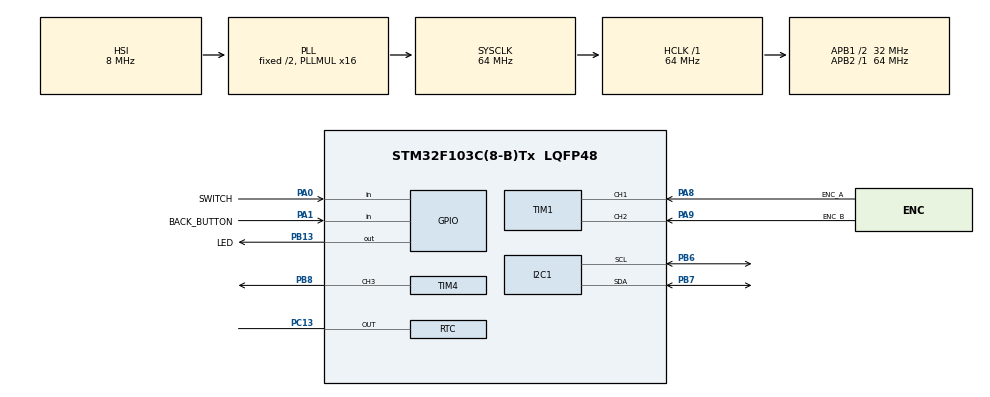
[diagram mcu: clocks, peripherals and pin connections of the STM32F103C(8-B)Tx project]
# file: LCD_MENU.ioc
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Mcu.Family=STM32F1
Mcu.Name=STM32F103C(8-B)Tx
Mcu.Package=LQFP48
NVIC.PriorityGroup=NVIC_PRIORITYGROUP_4
NVIC.TIM1_BRK_IRQn=true\:0\:0\:false\:false\:true\:true\:true\:true
NVIC.TIM1_CC_IRQn=true\:0\:0\:false\:false\:true\:true\:true\:true
NVIC.TIM1_TRG_COM_IRQn=true\:0\:0\:false\:false\:true\:true\:true\:true
NVIC.TIM1_UP_IRQn=true\:0\:0\:false\:false\:true\:true\:true\:true
PA0-WKUP.GPIO_Label=SWITCH
PA0-WKUP.Signal=GPIO_Input
PA1.GPIO_Label=BACK_BUTTON
PA1.GPIO_PuPd=GPIO_PULLDOWN
PA1.Signal=GPIO_Input
PA13.Mode=Serial_Wire
PA13.Signal=SYS_JTMS-SWDIO
PA14.Mode=Serial_Wire
PA14.Signal=SYS_JTCK-SWCLK
PA8.GPIO_Label=ENC_A
PA8.Signal=S_TIM1_CH1
PA9.GPIO_Label=ENC_B
PA9.Signal=S_TIM1_CH2
PB13.GPIO_Label=LED
PB13.GPIO_PuPd=GPIO_PULLDOWN
PB13.Signal=GPIO_Output
PB6.Mode=I2C
PB6.Signal=I2C1_SCL
PB7.Mode=I2C
PB7.Signal=I2C1_SDA
PB8.Signal=S_TIM4_CH3
PC13-TAMPER-RTC.Mode=RTC OUT
PC13-TAMPER-RTC.Signal=RTC_OUT
ProjectManager.HeapSize=0x200
ProjectManager.StackSize=0x400
ProjectManager.TargetToolchain=STM32CubeIDE
RCC.AHBFreq_Value=64000000
RCC.APB1CLKDivider=RCC_HCLK_DIV2
RCC.APB1Freq_Value=32000000
RCC.APB1TimFreq_Value=64000000
RCC.APB2Freq_Value=64000000
RCC.APB2TimFreq_Value=64000000
RCC.HCLKFreq_Value=64000000
RCC.PLLMUL=RCC_PLL_MUL16
RCC.SYSCLKFreq_VALUE=64000000
RCC.SYSCLKSource=RCC_SYSCLKSOURCE_PLLCLK
RCC.USBFreq_Value=64000000
RTC.Date=19
RTC.Format=RTC_FORMAT_BCD
RTC.Hours=15
RTC.Hours_A-RTC\ OUT=13
RTC.Minutes=3
RTC.Minutes_A-RTC\ OUT=27
RTC.Month=RTC_MONTH_MAY
RTC.Seconds=0
RTC.WeekDay=RTC_WEEKDAY_SUNDAY
RTC.Year=24
SH.S_TIM1_CH1.0=TIM1_CH1,Encoder_Interface
SH.S_TIM1_CH2.0=TIM1_CH2,Encoder_Interface
SH.S_TIM4_CH3.0=TIM4_CH3,PWM Generation3 CH3
TIM1.AutoReloadPreload=TIM_AUTORELOAD_PRELOAD_ENABLE
TIM1.EncoderMode=TIM_ENCODERMODE_TI12
TIM1.IC1Filter=15
TIM1.IC2Filter=15
TIM1.IC2Polarity=TIM_ICPOLARITY_FALLING
TIM4.Channel-PWM\ Generation3\ CH3=TIM_CHANNEL_3
TIM4.Period=65535-1
TIM4.Pulse-PWM\ Generation3\ CH3=0
VP_RTC_VS_RTC_Activate.Mode=RTC_Enabled
VP_RTC_VS_RTC_Calendar.Mode=RTC_Calendar
board=custom

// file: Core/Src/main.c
/* USER CODE BEGIN Header */
/**
  ******************************************************************************
  * @file           : main.c
  * @brief          : Main program body
  ******************************************************************************
  * @attention
  *
  * Copyright (c) 2024 STMicroelectronics.
  * All rights reserved.
  *
  * This software is licensed under terms that can be found in the LICENSE file
  * in the root directory of this software component.
  * If no LICENSE file comes with this software, it is provided AS-IS.
  *
  ******************************************************************************
  */
/* USER CODE END Header */
#include "main.h"

/* USER CODE BEGIN Includes */
#include "LCD_BUF.h"
#include "ROTARY_ENCODER.h"
#include "RTC.h"
#include "i2c-lcd.h"
#include "MENU.h"
#include "TIME/TIME.h"

//#include "MENU.h"
/* USER CODE END Includes */

I2C_HandleTypeDef hi2c1;

RTC_HandleTypeDef hrtc;

TIM_HandleTypeDef htim1;
TIM_HandleTypeDef htim4;

void SystemClock_Config(void);
static void MX_GPIO_Init(void);
static void MX_I2C1_Init(void);
static void MX_TIM1_Init(void);
static void MX_TIM4_Init(void);
static void MX_RTC_Init(void);

/* USER CODE BEGIN 0 */
uint32_t currentTime = 0;

extern uint32_t currentTime;
uint32_t timer = 0;
extern uint8_t time_call;
volatile uint8_t timer_flag = 0;

void HAL_IncTick(void) {

	currentTime++;
	if (time_call == 1) {

		get_time();
		time_refresh();
	}

	timer_flag = 1;

}

/* USER CODE END 0 */

int main(void)
{

  /* MCU Configuration--------------------------------------------------------*/

  /* Reset of all peripherals, Initializes the Flash interface and the Systick. */
  HAL_Init();

  /* Configure the system clock */
  SystemClock_Config();

  /* Initialize all configured peripherals */
  MX_GPIO_Init();
  MX_I2C1_Init();
  MX_TIM1_Init();
  MX_TIM4_Init();
  MX_RTC_Init();
  /* USER CODE BEGIN 2 */
  lcd_init();

  HAL_GPIO_WritePin(LED_GPIO_Port, LED_Pin, 1);

  HAL_TIM_Encoder_Start(&htim1, TIM_CHANNEL_ALL);
  HAL_TIM_PWM_Start(&htim4, TIM_CHANNEL_3);
  TIM4->CCR3 = 65535;

  menu_refresh();
  /* USER CODE END 2 */

  /* Infinite loop */
  /* USER CODE BEGIN WHILE */
  while (1)
  {
		if (timer_flag) {
			lcd_refresh();
			timer_flag = 0;
		}
	  read_rotary_encoder();
	  Read_Encoder_Button();
	  key_next_press();
	  key_enter_press();
	  back_enter_press();

    /* USER CODE END WHILE */

  }
}

void SystemClock_Config(void)
{
  RCC_OscInitTypeDef RCC_OscInitStruct = {0};
  RCC_ClkInitTypeDef RCC_ClkInitStruct = {0};
  RCC_PeriphCLKInitTypeDef PeriphClkInit = {0};

  /** Initializes the RCC Oscillators according to the specified parameters
  * in the RCC_OscInitTypeDef structure.
  */
  RCC_OscInitStruct.OscillatorType = RCC_OSCILLATORTYPE_HSI|RCC_OSCILLATORTYPE_LSI;
  RCC_OscInitStruct.HSIState = RCC_HSI_ON;
  RCC_OscInitStruct.HSICalibrationValue = RCC_HSICALIBRATION_DEFAULT;
  RCC_OscInitStruct.LSIState = RCC_LSI_ON;
  RCC_OscInitStruct.PLL.PLLState = RCC_PLL_ON;
  RCC_OscInitStruct.PLL.PLLSource = RCC_PLLSOURCE_HSI_DIV2;
  RCC_OscInitStruct.PLL.PLLMUL = RCC_PLL_MUL16;
  if (HAL_RCC_OscConfig(&RCC_OscInitStruct) != HAL_OK)
  {
    Error_Handler();
  }

  /** Initializes the CPU, AHB and APB buses clocks
  */
  RCC_ClkInitStruct.ClockType = RCC_CLOCKTYPE_HCLK|RCC_CLOCKTYPE_SYSCLK
                              |RCC_CLOCKTYPE_PCLK1|RCC_CLOCKTYPE_PCLK2;
  RCC_ClkInitStruct.SYSCLKSource = RCC_SYSCLKSOURCE_PLLCLK;
  RCC_ClkInitStruct.AHBCLKDivider = RCC_SYSCLK_DIV1;
  RCC_ClkInitStruct.APB1CLKDivider = RCC_HCLK_DIV2;
  RCC_ClkInitStruct.APB2CLKDivider = RCC_HCLK_DIV1;

  if (HAL_RCC_ClockConfig(&RCC_ClkInitStruct, FLASH_LATENCY_2) != HAL_OK)
  {
    Error_Handler();
  }
  PeriphClkInit.PeriphClockSelection = RCC_PERIPHCLK_RTC;
  PeriphClkInit.RTCClockSelection = RCC_RTCCLKSOURCE_LSI;
  if (HAL_RCCEx_PeriphCLKConfig(&PeriphClkInit) != HAL_OK)
  {
    Error_Handler();
  }
}

static void MX_I2C1_Init(void)
{

  hi2c1.Instance = I2C1;
  hi2c1.Init.ClockSpeed = 100000;
  hi2c1.Init.DutyCycle = I2C_DUTYCYCLE_2;
  hi2c1.Init.OwnAddress1 = 0;
  hi2c1.Init.AddressingMode = I2C_ADDRESSINGMODE_7BIT;
  hi2c1.Init.DualAddressMode = I2C_DUALADDRESS_DISABLE;
  hi2c1.Init.OwnAddress2 = 0;
  hi2c1.Init.GeneralCallMode = I2C_GENERALCALL_DISABLE;
  hi2c1.Init.NoStretchMode = I2C_NOSTRETCH_DISABLE;
  if (HAL_I2C_Init(&hi2c1) != HAL_OK)
  {
    Error_Handler();
  }

}

static void MX_RTC_Init(void)
{

  RTC_TimeTypeDef sTime = {0};
  RTC_DateTypeDef DateToUpdate = {0};
  RTC_AlarmTypeDef sAlarm = {0};

  /** Initialize RTC Only
  */
  hrtc.Instance = RTC;
  hrtc.Init.AsynchPrediv = RTC_AUTO_1_SECOND;
  hrtc.Init.OutPut = RTC_OUTPUTSOURCE_ALARM;
  if (HAL_RTC_Init(&hrtc) != HAL_OK)
  {
    Error_Handler();
  }

  /** Initialize RTC and set the Time and Date
  */
  sTime.Hours = 0x15;
  sTime.Minutes = 0x3;
  sTime.Seconds = 0x0;

  if (HAL_RTC_SetTime(&hrtc, &sTime, RTC_FORMAT_BCD) != HAL_OK)
  {
    Error_Handler();
  }
  DateToUpdate.WeekDay = RTC_WEEKDAY_SUNDAY;
  DateToUpdate.Month = RTC_MONTH_MAY;
  DateToUpdate.Date = 0x19;
  DateToUpdate.Year = 0x24;

  if (HAL_RTC_SetDate(&hrtc, &DateToUpdate, RTC_FORMAT_BCD) != HAL_OK)
  {
    Error_Handler();
  }

  /** Enable the Alarm A
  */
  sAlarm.AlarmTime.Hours = 0x13;
  sAlarm.AlarmTime.Minutes = 0x27;
  sAlarm.AlarmTime.Seconds = 0x0;
  sAlarm.Alarm = RTC_ALARM_A;
  if (HAL_RTC_SetAlarm(&hrtc, &sAlarm, RTC_FORMAT_BCD) != HAL_OK)
  {
    Error_Handler();
  }

}

static void MX_TIM1_Init(void)
{

  TIM_Encoder_InitTypeDef sConfig = {0};
  TIM_MasterConfigTypeDef sMasterConfig = {0};

  htim1.Instance = TIM1;
  htim1.Init.Prescaler = 0;
  htim1.Init.CounterMode = TIM_COUNTERMODE_UP;
  htim1.Init.Period = 65535;
  htim1.Init.ClockDivision = TIM_CLOCKDIVISION_DIV1;
  htim1.Init.RepetitionCounter = 0;
  htim1.Init.AutoReloadPreload = TIM_AUTORELOAD_PRELOAD_ENABLE;
  sConfig.EncoderMode = TIM_ENCODERMODE_TI12;
  sConfig.IC1Polarity = TIM_ICPOLARITY_RISING;
  sConfig.IC1Selection = TIM_ICSELECTION_DIRECTTI;
  sConfig.IC1Prescaler = TIM_ICPSC_DIV1;
  sConfig.IC1Filter = 15;
  sConfig.IC2Polarity = TIM_ICPOLARITY_FALLING;
  sConfig.IC2Selection = TIM_ICSELECTION_DIRECTTI;
  sConfig.IC2Prescaler = TIM_ICPSC_DIV1;
  sConfig.IC2Filter = 15;
  if (HAL_TIM_Encoder_Init(&htim1, &sConfig) != HAL_OK)
  {
    Error_Handler();
  }
  sMasterConfig.MasterOutputTrigger = TIM_TRGO_RESET;
  sMasterConfig.MasterSlaveMode = TIM_MASTERSLAVEMODE_DISABLE;
  if (HAL_TIMEx_MasterConfigSynchronization(&htim1, &sMasterConfig) != HAL_OK)
  {
    Error_Handler();
  }

}

static void MX_TIM4_Init(void)
{

  TIM_MasterConfigTypeDef sMasterConfig = {0};
  TIM_OC_InitTypeDef sConfigOC = {0};

  htim4.Instance = TIM4;
  htim4.Init.Prescaler = 0;
  htim4.Init.CounterMode = TIM_COUNTERMODE_UP;
  htim4.Init.Period = 65535-1;
  htim4.Init.ClockDivision = TIM_CLOCKDIVISION_DIV1;
  htim4.Init.AutoReloadPreload = TIM_AUTORELOAD_PRELOAD_DISABLE;
  if (HAL_TIM_PWM_Init(&htim4) != HAL_OK)
  {
    Error_Handler();
  }
  sMasterConfig.MasterOutputTrigger = TIM_TRGO_RESET;
  sMasterConfig.MasterSlaveMode = TIM_MASTERSLAVEMODE_DISABLE;
  if (HAL_TIMEx_MasterConfigSynchronization(&htim4, &sMasterConfig) != HAL_OK)
  {
    Error_Handler();
  }
  sConfigOC.OCMode = TIM_OCMODE_PWM1;
  sConfigOC.Pulse = 0;
  sConfigOC.OCPolarity = TIM_OCPOLARITY_HIGH;
  sConfigOC.OCFastMode = TIM_OCFAST_DISABLE;
  if (HAL_TIM_PWM_ConfigChannel(&htim4, &sConfigOC, TIM_CHANNEL_3) != HAL_OK)
  {
    Error_Handler();
  }
  HAL_TIM_MspPostInit(&htim4);

}

static void MX_GPIO_Init(void)
{
  GPIO_InitTypeDef GPIO_InitStruct = {0};

  /* GPIO Ports Clock Enable */
  __HAL_RCC_GPIOC_CLK_ENABLE();
  __HAL_RCC_GPIOA_CLK_ENABLE();
  __HAL_RCC_GPIOB_CLK_ENABLE();

  /*Configure GPIO pin Output Level */
  HAL_GPIO_WritePin(LED_GPIO_Port, LED_Pin, GPIO_PIN_RESET);

  /*Configure GPIO pin : SWITCH_Pin */
  GPIO_InitStruct.Pin = SWITCH_Pin;
  GPIO_InitStruct.Mode = GPIO_MODE_INPUT;
  GPIO_InitStruct.Pull = GPIO_NOPULL;
  HAL_GPIO_Init(SWITCH_GPIO_Port, &GPIO_InitStruct);

  /*Configure GPIO pin : BACK_BUTTON_Pin */
  GPIO_InitStruct.Pin = BACK_BUTTON_Pin;
  GPIO_InitStruct.Mode = GPIO_MODE_INPUT;
  GPIO_InitStruct.Pull = GPIO_PULLDOWN;
  HAL_GPIO_Init(BACK_BUTTON_GPIO_Port, &GPIO_InitStruct);

  /*Configure GPIO pin : LED_Pin */
  GPIO_InitStruct.Pin = LED_Pin;
  GPIO_InitStruct.Mode = GPIO_MODE_OUTPUT_PP;
  GPIO_InitStruct.Pull = GPIO_PULLDOWN;
  GPIO_InitStruct.Speed = GPIO_SPEED_FREQ_LOW;
  HAL_GPIO_Init(LED_GPIO_Port, &GPIO_InitStruct);

}

void Error_Handler(void)
{
  __disable_irq();
  while (1)
  {
  }
}
